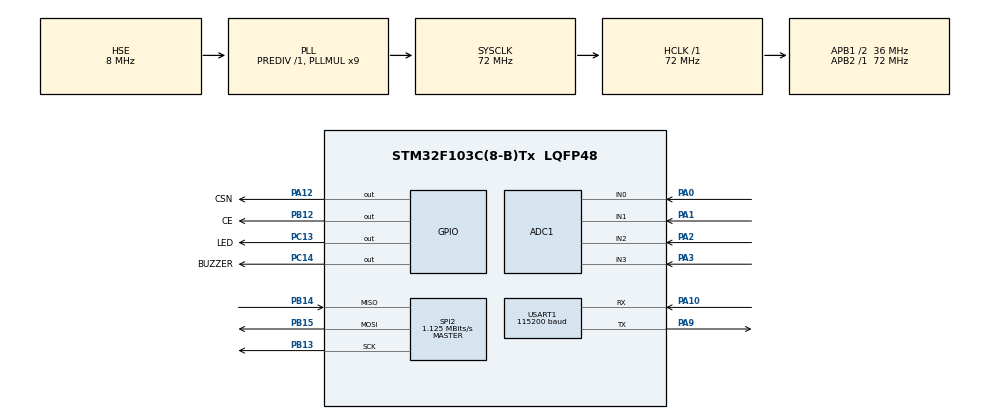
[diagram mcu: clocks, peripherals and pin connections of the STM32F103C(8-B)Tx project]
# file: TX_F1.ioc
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Mcu.Family=STM32F1
NVIC.DMA1_Channel5_IRQn=true\:0\:0\:false\:false\:true\:false\:true
SPI2.VirtualType=VM_MASTER
ADC1.ContinuousConvMode=ENABLE
USART1.BaudRate=115200
SH.ADCx_IN2.0=ADC1_IN2,IN2
NVIC.TIM1_UP_IRQn=true\:1\:0\:true\:false\:true\:true\:true
PB13.Signal=SPI2_SCK
PB15.Signal=SPI2_MOSI
RCC.SYSCLKSource=RCC_SYSCLKSOURCE_PLLCLK
ProjectManager.StackSize=0x400
PD1-OSC_OUT.Signal=RCC_OSC_OUT
PA12.Signal=GPIO_Output
TIM1.Prescaler=72-1
ADC1.Channel-3\#ChannelRegularConversion=ADC_CHANNEL_3
RCC.HCLKFreq_Value=72000000
SH.ADCx_IN3.0=ADC1_IN3,IN3
RCC.APB2TimFreq_Value=72000000
TIM3.Period=50000-1
Dma.ADC1.0.Direction=DMA_PERIPH_TO_MEMORY
ADC1.Channel-2\#ChannelRegularConversion=ADC_CHANNEL_2
Dma.USART1_RX.1.MemInc=DMA_MINC_ENABLE
Dma.ADC1.0.MemDataAlignment=DMA_MDATAALIGN_HALFWORD
RCC.AHBFreq_Value=72000000
SPI2.BaudRatePrescaler=SPI_BAUDRATEPRESCALER_32
ADC1.Channel-0\#ChannelRegularConversion=ADC_CHANNEL_0
Dma.USART1_RX.1.PeriphDataAlignment=DMA_PDATAALIGN_BYTE
RCC.PLLMUL=RCC_PLL_MUL9
PB12.GPIO_Label=CE
ADC1.Rank-2\#ChannelRegularConversion=3
PA14.Mode=Serial_Wire
PB14.Mode=Full_Duplex_Master
TIM3.Prescaler=144-1
Dma.ADC1.0.PeriphInc=DMA_PINC_DISABLE
NVIC.TIM2_IRQn=true\:0\:0\:false\:false\:true\:true\:true
SPI2.CalculateBaudRate=1.125 MBits/s
SH.ADCx_IN0.0=ADC1_IN0,IN0
VP_TIM1_VS_ClockSourceINT.Mode=Internal
ADC1.SamplingTime-0\#ChannelRegularConversion=ADC_SAMPLETIME_41CYCLES_5
Dma.USART1_RX.1.Mode=DMA_CIRCULAR
Mcu.Package=LQFP48
TIM2.Prescaler=72-1
SPI2.Mode=SPI_MODE_MASTER
PA10.Signal=USART1_RX
Dma.USART1_RX.1.PeriphInc=DMA_PINC_DISABLE
SH.ADCx_IN1.0=ADC1_IN1,IN1
Dma.Request1=USART1_RX
RCC.APB1TimFreq_Value=72000000
PC14-OSC32_IN.GPIO_Label=BUZZER
SPI2.Direction=SPI_DIRECTION_2LINES
TIM1.Period=50000-1
PB13.Mode=Full_Duplex_Master
Dma.USART1_RX.1.Priority=DMA_PRIORITY_LOW
NVIC.USART1_IRQn=true\:0\:0\:false\:false\:true\:true\:true
Dma.Request0=ADC1
VP_TIM3_VS_ClockSourceINT.Mode=Internal
PA3.Signal=ADCx_IN3
RCC.PLLSourceVirtual=RCC_PLLSOURCE_HSE
Dma.USART1_RX.1.Instance=DMA1_Channel5
Dma.ADC1.0.Instance=DMA1_Channel1
Dma.USART1_RX.1.MemDataAlignment=DMA_MDATAALIGN_BYTE
ADC1.Rank-0\#ChannelRegularConversion=1
PD1-OSC_OUT.Mode=HSE-External-Oscillator
PA10.Mode=Asynchronous
PC13-TAMPER-RTC.Signal=GPIO_Output
PD0-OSC_IN.Signal=RCC_OSC_IN
RCC.APB1CLKDivider=RCC_HCLK_DIV2
PC14-OSC32_IN.Signal=GPIO_Output
PA12.GPIO_Label=CSN
ADC1.SamplingTime-2\#ChannelRegularConversion=ADC_SAMPLETIME_41CYCLES_5
PA0-WKUP.Signal=ADCx_IN0
RCC.ADCPresc=RCC_ADCPCLK2_DIV6
PA13.Signal=SYS_JTMS-SWDIO
Dma.ADC1.0.PeriphDataAlignment=DMA_PDATAALIGN_HALFWORD
PA9.Mode=Asynchronous
ProjectManager.TargetToolchain=STM32CubeIDE
Dma.ADC1.0.Mode=DMA_CIRCULAR
Dma.ADC1.0.Priority=DMA_PRIORITY_LOW
PA9.Signal=USART1_TX
ADC1.Channel-1\#ChannelRegularConversion=ADC_CHANNEL_1
RCC.USBFreq_Value=72000000
PA1.Signal=ADCx_IN1
PD0-OSC_IN.Mode=HSE-External-Oscillator
PB14.Signal=SPI2_MISO
NVIC.TIM1_TRG_COM_IRQn=true\:1\:0\:true\:false\:true\:true\:true
board=custom
PC13-TAMPER-RTC.GPIO_Label=LED
PB15.Mode=Full_Duplex_Master
NVIC.TIM3_IRQn=true\:0\:0\:false\:false\:true\:true\:true
RCC.APB2Freq_Value=72000000
VP_TIM2_VS_ClockSourceINT.Mode=Internal
TIM2.Period=50000-1
ADC1.NbrOfConversion=4
PA13.Mode=Serial_Wire
Mcu.Name=STM32F103C(8-B)Tx
PA2.Signal=ADCx_IN2
NVIC.TIM1_CC_IRQn=true\:1\:0\:true\:false\:true\:true\:true
ADC1.SamplingTime-1\#ChannelRegularConversion=ADC_SAMPLETIME_41CYCLES_5
RCC.SYSCLKFreq_VALUE=72000000
ADC1.master=1
ADC1.Rank-3\#ChannelRegularConversion=4
ADC1.SamplingTime-3\#ChannelRegularConversion=ADC_SAMPLETIME_41CYCLES_5
USART1.VirtualMode=VM_ASYNC
ADC1.Rank-1\#ChannelRegularConversion=2
PA14.Signal=SYS_JTCK-SWCLK
Dma.ADC1.0.MemInc=DMA_MINC_ENABLE
NVIC.TIM1_BRK_IRQn=true\:1\:0\:true\:false\:true\:true\:true
ProjectManager.HeapSize=0x200
NVIC.PriorityGroup=NVIC_PRIORITYGROUP_4
ADC1.NbrOfConversionFlag=1
Dma.USART1_RX.1.Direction=DMA_PERIPH_TO_MEMORY
NVIC.DMA1_Channel1_IRQn=true\:0\:0\:false\:false\:true\:false\:true
RCC.APB1Freq_Value=36000000
PB12.Signal=GPIO_Output

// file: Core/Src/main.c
/* USER CODE BEGIN Header */
/**
  ******************************************************************************
  * @file           : main.c
  * @brief          : Main program body
  ******************************************************************************
  * @attention
  *
  * <h2><center>&copy; Copyright (c) 2021 STMicroelectronics.
  * All rights reserved.</center></h2>
  *
  * This software component is licensed by ST under BSD 3-Clause license,
  * the "License"; You may not use this file except in compliance with the
  * License. You may obtain a copy of the License at:
  *                        opensource.org/licenses/BSD-3-Clause
  *
  ******************************************************************************
  */
/* USER CODE END Header */
#include "main.h"

/* USER CODE BEGIN Includes */
#include "stdio.h"
#include "stdbool.h"
#include "MY_NRF24L01.h"
/* USER CODE END Includes */

/* USER CODE BEGIN PD */
#define __TUNE_MATLAB
/* USER CODE END PD */

ADC_HandleTypeDef hadc1;
DMA_HandleTypeDef hdma_adc1;

SPI_HandleTypeDef hspi2;

TIM_HandleTypeDef htim1;
TIM_HandleTypeDef htim2;
TIM_HandleTypeDef htim3;

UART_HandleTypeDef huart1;
DMA_HandleTypeDef hdma_usart1_rx;

/* USER CODE BEGIN PV */
uint8_t ui8Rbuffer[32];
uint16_t ui16AdcVal[4];
uint16_t ui16Pwm[4] ={1500, 1500, 1500, 1000};
uint8_t ui8RAck[32];

uint64_t RxpipeAddrs = 0xFF223344AA;
uint8_t buffer[32];
uint8_t myRxData[32];

//Variable for USART
uint8_t ui8UartBuff[32];

//For Tune PID
float KpR, KiR, KdR;
float KpP, KiP, KdP;
float KpY, KiY, KdY;

//State of System
NRF_State nrfState;
bool PIDtune = true;
//For Adc
VariRes_Value VrOffset;
//For Motor
Motor_State MotorState;
//For Buzzer State
Buzzer_State Buzzer = BUZZER_OFF;
/* USER CODE END PV */

void SystemClock_Config(void);
static void MX_GPIO_Init(void);
static void MX_DMA_Init(void);
static void MX_ADC1_Init(void);
static void MX_USART1_UART_Init(void);
static void MX_TIM1_Init(void);
static void MX_TIM2_Init(void);
static void MX_SPI2_Init(void);
static void MX_TIM3_Init(void);
/* USER CODE BEGIN PFP */
void HAL_TIM_PeriodElapsedCallback(TIM_HandleTypeDef *htim);
bool Compare_String (uint8_t* ui8String1, uint8_t* ui8String2, uint8_t size);		//Return 1 if we are equal and 0 if not
void HAL_UART_RxCpltCallback(UART_HandleTypeDef *huart);
void ConvertPID (float* flConstant, uint8_t* ui8Data);
void SetPID (uint8_t ui8char, float* flP, float* flI, float* flD);
void Varires_Calib (VariRes_Value* vrOffset, uint16_t* AdcDMA, uint16_t ui16Times);
void Calculate_PWM (uint16_t* ui16PWM,uint16_t* ui16Adc, VariRes_Value* VrOffsetValue);
void Motor_State_Set (Motor_State* motorState, uint16_t* ui16PWM);
/* USER CODE END PFP */

int main(void)
{

  /* MCU Configuration--------------------------------------------------------*/

  /* Reset of all peripherals, Initializes the Flash interface and the Systick. */
  HAL_Init();

  /* Configure the system clock */
  SystemClock_Config();

  /* Initialize all configured peripherals */
  MX_GPIO_Init();
  MX_DMA_Init();
  MX_ADC1_Init();
  MX_USART1_UART_Init();
  MX_TIM1_Init();
  MX_TIM2_Init();
  MX_SPI2_Init();
  MX_TIM3_Init();
  /* USER CODE BEGIN 2 */
	NRF24_begin(GPIOA, CSN_Pin, CE_Pin, hspi2);
	nrf24_DebugUART_Init(huart1);
	NRF24_stopListening();
	NRF24_openReadingPipe(0, RxpipeAddrs);
	NRF24_openWritingPipe(RxpipeAddrs);
	NRF24_setAutoAck(true);
	NRF24_setChannel(11);
	NRF24_setPayloadSize(32);
	NRF24_setPALevel(RF24_PA_m6dB);
	NRF24_enableDynamicPayloads();
	NRF24_enableAckPayload();
//	printRadioSettings();

	//Adc setup
	HAL_ADC_Start_DMA(&hadc1, (uint32_t*)ui16AdcVal, 4);
	HAL_UART_Receive_DMA(&huart1, ui8UartBuff, 25);
	Varires_Calib(&VrOffset, ui16AdcVal, 100);

	HAL_Delay(5);
	//Timer Initialise

	HAL_TIM_Base_Start_IT(&htim1);
	HAL_TIM_Base_Start_IT(&htim3);			//Buzzer Control Timer
	HAL_GPIO_WritePin(BUZZER_GPIO_Port, BUZZER_Pin, 1);

  /* USER CODE END 2 */

  /* Infinite loop */
  while (1)
  {

  }
}

void SystemClock_Config(void)
{
  RCC_OscInitTypeDef RCC_OscInitStruct = {0};
  RCC_ClkInitTypeDef RCC_ClkInitStruct = {0};
  RCC_PeriphCLKInitTypeDef PeriphClkInit = {0};

  /** Initializes the RCC Oscillators according to the specified parameters
  * in the RCC_OscInitTypeDef structure.
  */
  RCC_OscInitStruct.OscillatorType = RCC_OSCILLATORTYPE_HSE;
  RCC_OscInitStruct.HSEState = RCC_HSE_ON;
  RCC_OscInitStruct.HSEPredivValue = RCC_HSE_PREDIV_DIV1;
  RCC_OscInitStruct.HSIState = RCC_HSI_ON;
  RCC_OscInitStruct.PLL.PLLState = RCC_PLL_ON;
  RCC_OscInitStruct.PLL.PLLSource = RCC_PLLSOURCE_HSE;
  RCC_OscInitStruct.PLL.PLLMUL = RCC_PLL_MUL9;
  if (HAL_RCC_OscConfig(&RCC_OscInitStruct) != HAL_OK)
  {
    Error_Handler();
  }
  /** Initializes the CPU, AHB and APB buses clocks
  */
  RCC_ClkInitStruct.ClockType = RCC_CLOCKTYPE_HCLK|RCC_CLOCKTYPE_SYSCLK
                              |RCC_CLOCKTYPE_PCLK1|RCC_CLOCKTYPE_PCLK2;
  RCC_ClkInitStruct.SYSCLKSource = RCC_SYSCLKSOURCE_PLLCLK;
  RCC_ClkInitStruct.AHBCLKDivider = RCC_SYSCLK_DIV1;
  RCC_ClkInitStruct.APB1CLKDivider = RCC_HCLK_DIV2;
  RCC_ClkInitStruct.APB2CLKDivider = RCC_HCLK_DIV1;

  if (HAL_RCC_ClockConfig(&RCC_ClkInitStruct, FLASH_LATENCY_2) != HAL_OK)
  {
    Error_Handler();
  }
  PeriphClkInit.PeriphClockSelection = RCC_PERIPHCLK_ADC;
  PeriphClkInit.AdcClockSelection = RCC_ADCPCLK2_DIV6;
  if (HAL_RCCEx_PeriphCLKConfig(&PeriphClkInit) != HAL_OK)
  {
    Error_Handler();
  }
}

static void MX_ADC1_Init(void)
{

  ADC_ChannelConfTypeDef sConfig = {0};

  /** Common config
  */
  hadc1.Instance = ADC1;
  hadc1.Init.ScanConvMode = ADC_SCAN_ENABLE;
  hadc1.Init.ContinuousConvMode = ENABLE;
  hadc1.Init.DiscontinuousConvMode = DISABLE;
  hadc1.Init.ExternalTrigConv = ADC_SOFTWARE_START;
  hadc1.Init.DataAlign = ADC_DATAALIGN_RIGHT;
  hadc1.Init.NbrOfConversion = 4;
  if (HAL_ADC_Init(&hadc1) != HAL_OK)
  {
    Error_Handler();
  }
  /** Configure Regular Channel
  */
  sConfig.Channel = ADC_CHANNEL_0;
  sConfig.Rank = ADC_REGULAR_RANK_1;
  sConfig.SamplingTime = ADC_SAMPLETIME_41CYCLES_5;
  if (HAL_ADC_ConfigChannel(&hadc1, &sConfig) != HAL_OK)
  {
    Error_Handler();
  }
  /** Configure Regular Channel
  */
  sConfig.Channel = ADC_CHANNEL_1;
  sConfig.Rank = ADC_REGULAR_RANK_2;
  if (HAL_ADC_ConfigChannel(&hadc1, &sConfig) != HAL_OK)
  {
    Error_Handler();
  }
  /** Configure Regular Channel
  */
  sConfig.Channel = ADC_CHANNEL_2;
  sConfig.Rank = ADC_REGULAR_RANK_3;
  if (HAL_ADC_ConfigChannel(&hadc1, &sConfig) != HAL_OK)
  {
    Error_Handler();
  }
  /** Configure Regular Channel
  */
  sConfig.Channel = ADC_CHANNEL_3;
  sConfig.Rank = ADC_REGULAR_RANK_4;
  if (HAL_ADC_ConfigChannel(&hadc1, &sConfig) != HAL_OK)
  {
    Error_Handler();
  }

}

static void MX_SPI2_Init(void)
{

  /* SPI2 parameter configuration*/
  hspi2.Instance = SPI2;
  hspi2.Init.Mode = SPI_MODE_MASTER;
  hspi2.Init.Direction = SPI_DIRECTION_2LINES;
  hspi2.Init.DataSize = SPI_DATASIZE_8BIT;
  hspi2.Init.CLKPolarity = SPI_POLARITY_LOW;
  hspi2.Init.CLKPhase = SPI_PHASE_1EDGE;
  hspi2.Init.NSS = SPI_NSS_SOFT;
  hspi2.Init.BaudRatePrescaler = SPI_BAUDRATEPRESCALER_32;
  hspi2.Init.FirstBit = SPI_FIRSTBIT_MSB;
  hspi2.Init.TIMode = SPI_TIMODE_DISABLE;
  hspi2.Init.CRCCalculation = SPI_CRCCALCULATION_DISABLE;
  hspi2.Init.CRCPolynomial = 10;
  if (HAL_SPI_Init(&hspi2) != HAL_OK)
  {
    Error_Handler();
  }

}

static void MX_TIM1_Init(void)
{

  TIM_ClockConfigTypeDef sClockSourceConfig = {0};
  TIM_MasterConfigTypeDef sMasterConfig = {0};

  htim1.Instance = TIM1;
  htim1.Init.Prescaler = 72-1;
  htim1.Init.CounterMode = TIM_COUNTERMODE_UP;
  htim1.Init.Period = 50000-1;
  htim1.Init.ClockDivision = TIM_CLOCKDIVISION_DIV1;
  htim1.Init.RepetitionCounter = 0;
  htim1.Init.AutoReloadPreload = TIM_AUTORELOAD_PRELOAD_DISABLE;
  if (HAL_TIM_Base_Init(&htim1) != HAL_OK)
  {
    Error_Handler();
  }
  sClockSourceConfig.ClockSource = TIM_CLOCKSOURCE_INTERNAL;
  if (HAL_TIM_ConfigClockSource(&htim1, &sClockSourceConfig) != HAL_OK)
  {
    Error_Handler();
  }
  sMasterConfig.MasterOutputTrigger = TIM_TRGO_RESET;
  sMasterConfig.MasterSlaveMode = TIM_MASTERSLAVEMODE_DISABLE;
  if (HAL_TIMEx_MasterConfigSynchronization(&htim1, &sMasterConfig) != HAL_OK)
  {
    Error_Handler();
  }

}

static void MX_TIM2_Init(void)
{

  TIM_ClockConfigTypeDef sClockSourceConfig = {0};
  TIM_MasterConfigTypeDef sMasterConfig = {0};

  htim2.Instance = TIM2;
  htim2.Init.Prescaler = 72-1;
  htim2.Init.CounterMode = TIM_COUNTERMODE_UP;
  htim2.Init.Period = 50000-1;
  htim2.Init.ClockDivision = TIM_CLOCKDIVISION_DIV1;
  htim2.Init.AutoReloadPreload = TIM_AUTORELOAD_PRELOAD_DISABLE;
  if (HAL_TIM_Base_Init(&htim2) != HAL_OK)
  {
    Error_Handler();
  }
  sClockSourceConfig.ClockSource = TIM_CLOCKSOURCE_INTERNAL;
  if (HAL_TIM_ConfigClockSource(&htim2, &sClockSourceConfig) != HAL_OK)
  {
    Error_Handler();
  }
  sMasterConfig.MasterOutputTrigger = TIM_TRGO_RESET;
  sMasterConfig.MasterSlaveMode = TIM_MASTERSLAVEMODE_DISABLE;
  if (HAL_TIMEx_MasterConfigSynchronization(&htim2, &sMasterConfig) != HAL_OK)
  {
    Error_Handler();
  }

}

static void MX_TIM3_Init(void)
{

  TIM_ClockConfigTypeDef sClockSourceConfig = {0};
  TIM_MasterConfigTypeDef sMasterConfig = {0};

  htim3.Instance = TIM3;
  htim3.Init.Prescaler = 144-1;
  htim3.Init.CounterMode = TIM_COUNTERMODE_UP;
  htim3.Init.Period = 50000-1;
  htim3.Init.ClockDivision = TIM_CLOCKDIVISION_DIV1;
  htim3.Init.AutoReloadPreload = TIM_AUTORELOAD_PRELOAD_DISABLE;
  if (HAL_TIM_Base_Init(&htim3) != HAL_OK)
  {
    Error_Handler();
  }
  sClockSourceConfig.ClockSource = TIM_CLOCKSOURCE_INTERNAL;
  if (HAL_TIM_ConfigClockSource(&htim3, &sClockSourceConfig) != HAL_OK)
  {
    Error_Handler();
  }
  sMasterConfig.MasterOutputTrigger = TIM_TRGO_RESET;
  sMasterConfig.MasterSlaveMode = TIM_MASTERSLAVEMODE_DISABLE;
  if (HAL_TIMEx_MasterConfigSynchronization(&htim3, &sMasterConfig) != HAL_OK)
  {
    Error_Handler();
  }

}

static void MX_USART1_UART_Init(void)
{

  huart1.Instance = USART1;
  huart1.Init.BaudRate = 115200;
  huart1.Init.WordLength = UART_WORDLENGTH_8B;
  huart1.Init.StopBits = UART_STOPBITS_1;
  huart1.Init.Parity = UART_PARITY_NONE;
  huart1.Init.Mode = UART_MODE_TX_RX;
  huart1.Init.HwFlowCtl = UART_HWCONTROL_NONE;
  huart1.Init.OverSampling = UART_OVERSAMPLING_16;
  if (HAL_UART_Init(&huart1) != HAL_OK)
  {
    Error_Handler();
  }

}

static void MX_DMA_Init(void)
{

  /* DMA controller clock enable */
  __HAL_RCC_DMA1_CLK_ENABLE();

  /* DMA interrupt init */
  /* DMA1_Channel1_IRQn interrupt configuration */
  HAL_NVIC_SetPriority(DMA1_Channel1_IRQn, 0, 0);
  HAL_NVIC_EnableIRQ(DMA1_Channel1_IRQn);
  /* DMA1_Channel5_IRQn interrupt configuration */
  HAL_NVIC_SetPriority(DMA1_Channel5_IRQn, 0, 0);
  HAL_NVIC_EnableIRQ(DMA1_Channel5_IRQn);

}

static void MX_GPIO_Init(void)
{
  GPIO_InitTypeDef GPIO_InitStruct = {0};

  /* GPIO Ports Clock Enable */
  __HAL_RCC_GPIOC_CLK_ENABLE();
  __HAL_RCC_GPIOD_CLK_ENABLE();
  __HAL_RCC_GPIOA_CLK_ENABLE();
  __HAL_RCC_GPIOB_CLK_ENABLE();

  /*Configure GPIO pin Output Level */
  HAL_GPIO_WritePin(GPIOC, LED_Pin|BUZZER_Pin, GPIO_PIN_RESET);

  /*Configure GPIO pin Output Level */
  HAL_GPIO_WritePin(CE_GPIO_Port, CE_Pin, GPIO_PIN_RESET);

  /*Configure GPIO pin Output Level */
  HAL_GPIO_WritePin(CSN_GPIO_Port, CSN_Pin, GPIO_PIN_RESET);

  /*Configure GPIO pins : LED_Pin BUZZER_Pin */
  GPIO_InitStruct.Pin = LED_Pin|BUZZER_Pin;
  GPIO_InitStruct.Mode = GPIO_MODE_OUTPUT_PP;
  GPIO_InitStruct.Pull = GPIO_NOPULL;
  GPIO_InitStruct.Speed = GPIO_SPEED_FREQ_LOW;
  HAL_GPIO_Init(GPIOC, &GPIO_InitStruct);

  /*Configure GPIO pin : CE_Pin */
  GPIO_InitStruct.Pin = CE_Pin;
  GPIO_InitStruct.Mode = GPIO_MODE_OUTPUT_PP;
  GPIO_InitStruct.Pull = GPIO_NOPULL;
  GPIO_InitStruct.Speed = GPIO_SPEED_FREQ_LOW;
  HAL_GPIO_Init(CE_GPIO_Port, &GPIO_InitStruct);

  /*Configure GPIO pin : CSN_Pin */
  GPIO_InitStruct.Pin = CSN_Pin;
  GPIO_InitStruct.Mode = GPIO_MODE_OUTPUT_PP;
  GPIO_InitStruct.Pull = GPIO_NOPULL;
  GPIO_InitStruct.Speed = GPIO_SPEED_FREQ_LOW;
  HAL_GPIO_Init(CSN_GPIO_Port, &GPIO_InitStruct);

}

/* USER CODE BEGIN 4 */
void HAL_TIM_PeriodElapsedCallback(TIM_HandleTypeDef *htim)
{
	if(htim->Instance == htim1.Instance)
	{
		uint8_t ui8buf[34];
		static uint8_t i = 0;
		//Calculate Adc value
		 Calculate_PWM(ui16Pwm, ui16AdcVal, &VrOffset);

		//Change Motor State
		Motor_State_Set(&MotorState, ui16Pwm);
		//Package information
		if(nrfState == NRF_CMD)
		{
		if(MotorState == MOTOR_START)
		{
			sprintf((char*)ui8Rbuffer, "CMDT%dR%dP%dY%d", ui16Pwm[3], ui16Pwm[1], ui16Pwm[0], ui16Pwm[2]);
		}
		if(MotorState == MOTOR_STOP)
		{
			sprintf((char*)ui8Rbuffer, "CMDT%dR%dP%dY%d", 1000, 1500, 1500, 1500);
		}
		}

		if(NRF24_write(ui8Rbuffer, 32))
		{
			NRF24_read(ui8RAck, 32);
			if(Compare_String(ui8RAck,(uint8_t*) "ACK", 3))
			{
#ifndef __TUNE_MATLAB
				HAL_UART_Transmit(&huart1, ui8RAck, 32, 50);
#else
				if(PIDtune == true)
				{
				memset(ui8buf, '\0', sizeof(ui8buf));
				sprintf((char*)ui8buf, "%s\r\n", ui8RAck);
				HAL_UART_Transmit(&huart1, ui8buf, 34, 50);
				}

#endif
				if(ui8RAck[21] == 'B')
				{
					float BatBuf;
					BatBuf = (ui8RAck[22] - 0x30)*10 + (ui8RAck[23] - 0x30) + (float)(ui8RAck[25] - 0x30)/10;
					if((BatBuf >= 10.0) || (MotorState == MOTOR_STOP))
					{
						Buzzer = BUZZER_OFF;
					}
					if((BatBuf < 10.0) && (MotorState == MOTOR_START))
					{
						Buzzer = BUZZER_FLASHBEEP;
					}
				}
			}
			if(nrfState == NRF_PID)
			{
				//	HAL_GPIO_TogglePin(LED_GPIO_Port, LED_Pin);
					nrfState = NRF_CMD;
#ifdef __TUNE_MATLAB
					HAL_UART_Transmit(&huart1, (uint8_t*)"PIDOK\r\n", sizeof("PIDOK\r\n"), 10);
					PIDtune = true;
					HAL_GPIO_TogglePin(LED_GPIO_Port, LED_Pin);
#endif
			}
			if(nrfState == NRF_CTL)
			{
				nrfState = NRF_CMD;
			}
		}
		i++;
#ifdef __TUNE_MATLAB
		if(i > 20)
		{

		if(Compare_String(ui8UartBuff, (uint8_t*)"PID", 3))
		{
			memset(ui8Rbuffer, '\0', sizeof(ui8Rbuffer));
			sprintf((char*)ui8Rbuffer,"%s", ui8UartBuff);
			memset(ui8UartBuff, '\0', sizeof(ui8UartBuff));
			nrfState = NRF_PID;

		}
		i = 0;
		}
#endif
	}
	if(htim->Instance == htim3.Instance)
	{
		static uint8_t ui8long = 0;
		if(Buzzer == BUZZER_OFF)
		{
			HAL_GPIO_WritePin(BUZZER_GPIO_Port, BUZZER_Pin, 0);
			ui8long = 0;
		}
		else
		{
			switch (Buzzer)
			{
				case BUZZER_BEEP:
					HAL_GPIO_WritePin(BUZZER_GPIO_Port, BUZZER_Pin, 1);
					Buzzer = BUZZER_OFF;
					break;
				case BUZZER_LONGBEEP:
					HAL_GPIO_WritePin(BUZZER_GPIO_Port, BUZZER_Pin, 1);
					ui8long ++;
					if(ui8long == 5)
					{
						ui8long = 0;
						Buzzer = BUZZER_OFF;
					}
					break;
				case BUZZER_FLASHBEEP:
					if(ui8long == 0)
					{
						HAL_GPIO_WritePin(BUZZER_GPIO_Port, BUZZER_Pin, 1);
					}
					if(ui8long == 2)
					{
						HAL_GPIO_WritePin(BUZZER_GPIO_Port, BUZZER_Pin, 0);
					}
					ui8long++;
					if(ui8long > 10)
						ui8long = 0;

					break;
				default:
					break;
			}

		}
	}

	}
bool Compare_String (uint8_t* ui8String1, uint8_t* ui8String2, uint8_t ui8Size)
{
	uint8_t i;
	for (i = 0; i < ui8Size; i++)
	{
		if(*ui8String1 != *ui8String2)
		{
			return false;
		}
		ui8String1++;
		ui8String2++;
	}
	return true;
	}
void ConvertPID (float* flConstant, uint8_t* ui8Data)
{
	*flConstant = (float)((*ui8Data) - 0x30)*10 + (float)(*(ui8Data + 1) - 0x30) + (float)(*(ui8Data + 3) - 0x30)/10 + (float)(*(ui8Data + 4) - 0x30)/100;
	}

void Varires_Calib (VariRes_Value* vrOffset, uint16_t* AdcDMA, uint16_t ui16Times)
{
	uint16_t i;
	uint32_t buffer[4];
	for(i = 0; i < 4; i++)
	{
		buffer[i] = 0x00;
	}
	for(i = 0; i < ui16Times; i++)
	{
		buffer[0] += *AdcDMA;
		buffer[1] += *(AdcDMA + 1);
		buffer[2] += *(AdcDMA + 2);
		buffer[3] += *(AdcDMA + 3);
		HAL_Delay(20);
		/* USER CODE BEGIN */
		HAL_GPIO_TogglePin(LED_GPIO_Port, LED_Pin);
		/* USER CODE End */
	}
	vrOffset->Adc1 = buffer[0]/ui16Times;
	vrOffset->Adc2 = buffer[1]/ui16Times;
	vrOffset->Adc3 = buffer[2]/ui16Times;
	vrOffset->Adc4 = buffer[3]/ui16Times;
	}
void Calculate_PWM (uint16_t* ui16PWM,uint16_t* ui16Adc, VariRes_Value* VrOffsetValue)
{
	uint8_t i;
	//Calculate Adc value
		*ui16PWM = (*ui16Adc - VrOffsetValue->Adc1 + 2048)*1000/4095 + 1000;
		*(ui16PWM + 1)= (*(ui16Adc + 1) - VrOffsetValue->Adc2 + 2048)*1000/4095 + 1000;
		*(ui16PWM + 2)= (*(ui16Adc + 2) - VrOffsetValue->Adc3 + 2048)*1000/4095 + 1000;
		*(ui16PWM + 3)= (*(ui16Adc + 3) - VrOffsetValue->Adc4 + 0)*1000/4095 + 1000;
	for (i = 0; i < 4; i++)
	{
		if(*(ui16PWM + i) < 1000)
			*(ui16PWM + i) = 1000;
		if(*(ui16PWM + i) > 2000)
			*(ui16PWM + i) = 2000;
	}
	}
void Motor_State_Set (Motor_State* motorState, uint16_t* ui16PWM)
{
	static uint8_t i =0;
	if(*motorState == MOTOR_STOP)
	{
		if((*(ui16PWM + 3) < 1020) && (*(ui16PWM + 2) < 1070) && (*(ui16PWM + 0) < 1080) && (*(ui16PWM + 1) > 1910) )
		{
			i++;
		}
		if(i > 15)
		{
			i = 0;
			*motorState = MOTOR_START;
			sprintf((char*)ui8Rbuffer, "CTLSSTART");
			nrfState = NRF_CTL;
			Buzzer = BUZZER_LONGBEEP;
		}
	}
	if(*motorState == MOTOR_START)
	{
		if(*(ui16PWM + 3) < 1020)
		{
		if((*(ui16PWM + 3) < 1020) && (*(ui16PWM + 2) > 1930) && (*(ui16PWM + 0) < 1080) && (*(ui16PWM + 1) < 1090) )
		{
			i++;
		}
		if(i > 15)
		{
			i = 0;
			*motorState = MOTOR_STOP;
			Buzzer = BUZZER_LONGBEEP;
			sprintf((char*)ui8Rbuffer, "CTLSSTOP ");
			nrfState = NRF_CTL;
		}
		}
	}

	}
/* USER CODE END 4 */

void Error_Handler(void)
{
  __disable_irq();
  while (1)
  {
  }
}

/************************ (C) COPYRIGHT STMicroelectronics *****END OF FILE****/
